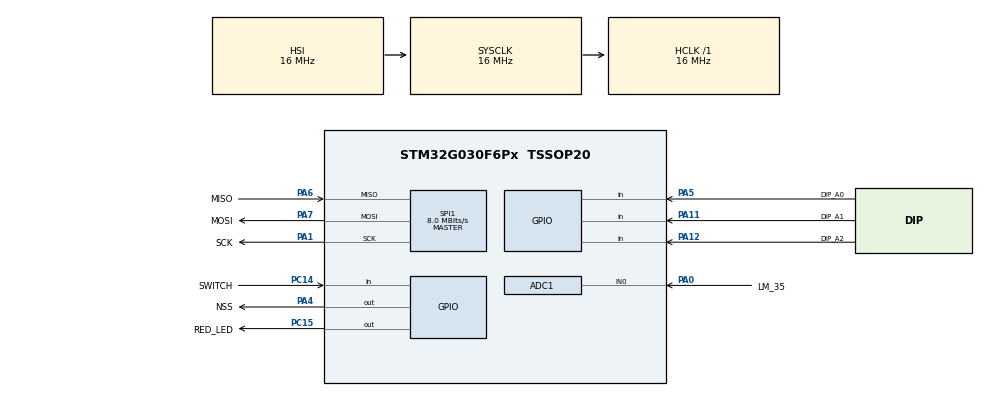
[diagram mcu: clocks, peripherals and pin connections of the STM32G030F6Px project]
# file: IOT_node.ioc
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ADC1.Channel-3\#ChannelRegularConversion=ADC_CHANNEL_0
ADC1.NbrOfConversionFlag=1
ADC1.Rank-3\#ChannelRegularConversion=1
ADC1.SamplingTime-3\#ChannelRegularConversion=ADC_SAMPLINGTIME_COMMON_1
ADC1.SelectedChannel=ADC_CHANNEL_0
ADC1.master=1
Mcu.Family=STM32G0
Mcu.Name=STM32G030F6Px
Mcu.Package=TSSOP20
NVIC.SPI1_IRQn=true\:0\:0\:false\:false\:true\:true\:true\:true
PA0.GPIO_Label=LM_35
PA0.Signal=SharedAnalog_PA0
PA1.GPIO_Label=SCK
PA1.GPIO_Speed=GPIO_SPEED_FREQ_HIGH
PA1.Mode=Full_Duplex_Master
PA1.Signal=SPI1_SCK
PA11\ [PA9].GPIO_Label=DIP_A1
PA11\ [PA9].GPIO_PuPd=GPIO_PULLUP
PA11\ [PA9].Signal=GPIO_Input
PA12\ [PA10].GPIO_Label=DIP_A2
PA12\ [PA10].GPIO_PuPd=GPIO_PULLUP
PA12\ [PA10].Signal=GPIO_Input
PA13.Mode=Serial_Wire
PA13.Signal=SYS_SWDIO
PA14-BOOT0.Mode=Serial_Wire
PA14-BOOT0.Signal=SYS_SWCLK
PA14-BOOT0__PA15.StandardMode=true
PA4.GPIO_Label=NSS
PA4.GPIO_PuPd=GPIO_PULLUP
PA4.Signal=GPIO_Output
PA5.GPIO_Label=DIP_A0
PA5.GPIO_PuPd=GPIO_PULLUP
PA5.Signal=GPIO_Input
PA6.GPIO_Label=MISO
PA6.GPIO_Speed=GPIO_SPEED_FREQ_HIGH
PA6.Mode=Full_Duplex_Master
PA6.Signal=SPI1_MISO
PA7.GPIO_Label=MOSI
PA7.GPIO_Speed=GPIO_SPEED_FREQ_HIGH
PA7.Mode=Full_Duplex_Master
PA7.Signal=SPI1_MOSI
PB0__PB1__PB2__PA8.StandardMode=true
PB3__PB4__PB5__PB6.StandardMode=true
PB7__PB8.StandardMode=true
PC14-OSC32_IN\ (PC14).GPIO_Label=SWITCH
PC14-OSC32_IN\ (PC14).GPIO_PuPd=GPIO_PULLUP
PC14-OSC32_IN\ (PC14).Signal=GPIO_Input
PC14-OSC32_IN\ (PC14)__PB9.StandardMode=true
PC15-OSC32_OUT\ (PC15).GPIO_Label=RED_LED
PC15-OSC32_OUT\ (PC15).Signal=GPIO_Output
ProjectManager.HeapSize=0x200
ProjectManager.StackSize=0x400
ProjectManager.TargetToolchain=STM32CubeIDE
RCC.AHBFreq_Value=16000000
RCC.CortexFreq_Value=16000000
RCC.EXTERNAL_CLOCK_VALUE=12288000
RCC.HCLKFreq_Value=16000000
RCC.HSE_VALUE=8000000
RCC.HSI_VALUE=16000000
RCC.LSE_VALUE=32768
RCC.SYSCLKFreq_VALUE=16000000
RCC.VCOOutputFreq_Value=128000000
SH.SharedAnalog_PA0.0=GPIO_Analog
SH.SharedAnalog_PA0.1=ADC1_IN0,IN0
SPI1.CalculateBaudRate=8.0 MBits/s
SPI1.Direction=SPI_DIRECTION_2LINES
SPI1.Mode=SPI_MODE_MASTER
SPI1.VirtualType=VM_MASTER
board=custom

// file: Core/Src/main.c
/* USER CODE BEGIN Header */
/**
  ******************************************************************************
  * @file           : main.c
  * @brief          : Main program body
  ******************************************************************************
  * @attention
  *
  * Copyright (c) 2024 STMicroelectronics.
  * All rights reserved.
  *
  * This software is licensed under terms that can be found in the LICENSE file
  * in the root directory of this software component.
  * If no LICENSE file comes with this software, it is provided AS-IS.
  *
  ******************************************************************************
  */
/* USER CODE END Header */
#include "main.h"

/* USER CODE BEGIN Includes */
#include "CANSPI.h"
/* USER CODE END Includes */

ADC_HandleTypeDef hadc1;

SPI_HandleTypeDef hspi1;

/* USER CODE BEGIN PV */
int temp,adc_value;
uCAN_MSG Msg;
int NODE;
/* USER CODE END PV */

void SystemClock_Config(void);
static void MX_GPIO_Init(void);
static void MX_ADC1_Init(void);
static void MX_SPI1_Init(void);
/* USER CODE BEGIN PFP */
void tempread(void);
void readnode(void);
/* USER CODE END PFP */

int main(void)
{

  /* MCU Configuration--------------------------------------------------------*/

  /* Reset of all peripherals, Initializes the Flash interface and the Systick. */
  HAL_Init();

  /* Configure the system clock */
  SystemClock_Config();

  /* USER CODE BEGIN SysInit */
 // HAL_RCC_GPIOA_CLK_ENABLE(); // Enable GPIOA clock
 // HAL_RCC_ADC_CLK_ENABLE();   // Enable ADC clock

  /* USER CODE END SysInit */

  /* Initialize all configured peripherals */
  MX_GPIO_Init();
  MX_ADC1_Init();
  MX_SPI1_Init();
  /* USER CODE BEGIN 2 */

  CANSPI_Initialize();
  /* USER CODE END 2 */

  /* Infinite loop */
  while (1)
  {

    /* USER CODE BEGIN 3 */

	 // tempread();

	  readnode();
	  if(CANSPI_Receive(&Msg))
	  {

		  if(Msg.frame.id == NODE)   //NODE 1
		  {
			   HAL_GPIO_WritePin(RED_LED_GPIO_Port,RED_LED_Pin,1);
			   HAL_Delay(500);
			   HAL_GPIO_WritePin(RED_LED_GPIO_Port,RED_LED_Pin,0);

			  tempread();
			  Msg.frame.id = NODE;
			  Msg.frame.dlc = 1;
			  Msg.frame.data0 = temp;
			  CANSPI_Transmit(&Msg);
		  }
	  }

  }
  /* USER CODE END 3 */
}

void SystemClock_Config(void)
{
  RCC_OscInitTypeDef RCC_OscInitStruct = {0};
  RCC_ClkInitTypeDef RCC_ClkInitStruct = {0};

  /** Configure the main internal regulator output voltage
  */
  HAL_PWREx_ControlVoltageScaling(PWR_REGULATOR_VOLTAGE_SCALE1);

  /** Initializes the RCC Oscillators according to the specified parameters
  * in the RCC_OscInitTypeDef structure.
  */
  RCC_OscInitStruct.OscillatorType = RCC_OSCILLATORTYPE_HSI;
  RCC_OscInitStruct.HSIState = RCC_HSI_ON;
  RCC_OscInitStruct.HSIDiv = RCC_HSI_DIV1;
  RCC_OscInitStruct.HSICalibrationValue = RCC_HSICALIBRATION_DEFAULT;
  RCC_OscInitStruct.PLL.PLLState = RCC_PLL_NONE;
  if (HAL_RCC_OscConfig(&RCC_OscInitStruct) != HAL_OK)
  {
    Error_Handler();
  }

  /** Initializes the CPU, AHB and APB buses clocks
  */
  RCC_ClkInitStruct.ClockType = RCC_CLOCKTYPE_HCLK|RCC_CLOCKTYPE_SYSCLK
                              |RCC_CLOCKTYPE_PCLK1;
  RCC_ClkInitStruct.SYSCLKSource = RCC_SYSCLKSOURCE_HSI;
  RCC_ClkInitStruct.AHBCLKDivider = RCC_SYSCLK_DIV1;
  RCC_ClkInitStruct.APB1CLKDivider = RCC_HCLK_DIV1;

  if (HAL_RCC_ClockConfig(&RCC_ClkInitStruct, FLASH_LATENCY_0) != HAL_OK)
  {
    Error_Handler();
  }
}

static void MX_ADC1_Init(void)
{

  ADC_ChannelConfTypeDef sConfig = {0};

  /** Configure the global features of the ADC (Clock, Resolution, Data Alignment and number of conversion)
  */
  hadc1.Instance = ADC1;
  hadc1.Init.ClockPrescaler = ADC_CLOCK_SYNC_PCLK_DIV2;
  hadc1.Init.Resolution = ADC_RESOLUTION_12B;
  hadc1.Init.DataAlign = ADC_DATAALIGN_RIGHT;
  hadc1.Init.ScanConvMode = ADC_SCAN_DISABLE;
  hadc1.Init.EOCSelection = ADC_EOC_SINGLE_CONV;
  hadc1.Init.LowPowerAutoWait = DISABLE;
  hadc1.Init.LowPowerAutoPowerOff = DISABLE;
  hadc1.Init.ContinuousConvMode = DISABLE;
  hadc1.Init.NbrOfConversion = 1;
  hadc1.Init.DiscontinuousConvMode = DISABLE;
  hadc1.Init.ExternalTrigConv = ADC_SOFTWARE_START;
  hadc1.Init.ExternalTrigConvEdge = ADC_EXTERNALTRIGCONVEDGE_NONE;
  hadc1.Init.DMAContinuousRequests = DISABLE;
  hadc1.Init.Overrun = ADC_OVR_DATA_PRESERVED;
  hadc1.Init.SamplingTimeCommon1 = ADC_SAMPLETIME_1CYCLE_5;
  hadc1.Init.SamplingTimeCommon2 = ADC_SAMPLETIME_1CYCLE_5;
  hadc1.Init.OversamplingMode = DISABLE;
  hadc1.Init.TriggerFrequencyMode = ADC_TRIGGER_FREQ_HIGH;
  if (HAL_ADC_Init(&hadc1) != HAL_OK)
  {
    Error_Handler();
  }

  /** Configure Regular Channel
  */
  sConfig.Channel = ADC_CHANNEL_0;
  sConfig.Rank = ADC_REGULAR_RANK_1;
  sConfig.SamplingTime = ADC_SAMPLINGTIME_COMMON_1;
  if (HAL_ADC_ConfigChannel(&hadc1, &sConfig) != HAL_OK)
  {
    Error_Handler();
  }

}

static void MX_SPI1_Init(void)
{

  /* SPI1 parameter configuration*/
  hspi1.Instance = SPI1;
  hspi1.Init.Mode = SPI_MODE_MASTER;
  hspi1.Init.Direction = SPI_DIRECTION_2LINES;
  hspi1.Init.DataSize = SPI_DATASIZE_8BIT;
  hspi1.Init.CLKPolarity = SPI_POLARITY_LOW;
  hspi1.Init.CLKPhase = SPI_PHASE_1EDGE;
  hspi1.Init.NSS = SPI_NSS_SOFT;
  hspi1.Init.BaudRatePrescaler = SPI_BAUDRATEPRESCALER_2;
  hspi1.Init.FirstBit = SPI_FIRSTBIT_MSB;
  hspi1.Init.TIMode = SPI_TIMODE_DISABLE;
  hspi1.Init.CRCCalculation = SPI_CRCCALCULATION_DISABLE;
  hspi1.Init.CRCPolynomial = 7;
  hspi1.Init.CRCLength = SPI_CRC_LENGTH_DATASIZE;
  hspi1.Init.NSSPMode = SPI_NSS_PULSE_ENABLE;
  if (HAL_SPI_Init(&hspi1) != HAL_OK)
  {
    Error_Handler();
  }

}

static void MX_GPIO_Init(void)
{
  GPIO_InitTypeDef GPIO_InitStruct = {0};

  /* GPIO Ports Clock Enable */
  __HAL_RCC_GPIOC_CLK_ENABLE();
  __HAL_RCC_GPIOA_CLK_ENABLE();

  /*Configure GPIO pin Output Level */
  HAL_GPIO_WritePin(RED_LED_GPIO_Port, RED_LED_Pin, GPIO_PIN_RESET);

  /*Configure GPIO pin Output Level */
  HAL_GPIO_WritePin(NSS_GPIO_Port, NSS_Pin, GPIO_PIN_RESET);

  /*Configure GPIO pin : SWITCH_Pin */
  GPIO_InitStruct.Pin = SWITCH_Pin;
  GPIO_InitStruct.Mode = GPIO_MODE_INPUT;
  GPIO_InitStruct.Pull = GPIO_PULLUP;
  HAL_GPIO_Init(SWITCH_GPIO_Port, &GPIO_InitStruct);

  /*Configure GPIO pin : RED_LED_Pin */
  GPIO_InitStruct.Pin = RED_LED_Pin;
  GPIO_InitStruct.Mode = GPIO_MODE_OUTPUT_PP;
  GPIO_InitStruct.Pull = GPIO_NOPULL;
  GPIO_InitStruct.Speed = GPIO_SPEED_FREQ_LOW;
  HAL_GPIO_Init(RED_LED_GPIO_Port, &GPIO_InitStruct);

  /*Configure GPIO pin : NSS_Pin */
  GPIO_InitStruct.Pin = NSS_Pin;
  GPIO_InitStruct.Mode = GPIO_MODE_OUTPUT_PP;
  GPIO_InitStruct.Pull = GPIO_PULLUP;
  GPIO_InitStruct.Speed = GPIO_SPEED_FREQ_LOW;
  HAL_GPIO_Init(NSS_GPIO_Port, &GPIO_InitStruct);

  /*Configure GPIO pins : DIP_A0_Pin DIP_A1_Pin DIP_A2_Pin */
  GPIO_InitStruct.Pin = DIP_A0_Pin|DIP_A1_Pin|DIP_A2_Pin;
  GPIO_InitStruct.Mode = GPIO_MODE_INPUT;
  GPIO_InitStruct.Pull = GPIO_PULLUP;
  HAL_GPIO_Init(GPIOA, &GPIO_InitStruct);

}

/* USER CODE BEGIN 4 */
void tempread(void)
{
	  HAL_ADC_Start(&hadc1);                               // Start ADC conversion
	  HAL_ADC_PollForConversion(&hadc1, 20);    // Wait for conversion to complete
	  adc_value = HAL_ADC_GetValue(&hadc1);       // Get the ADC result
	 //HAL_ADC_Stop(&hadc1);
	  temp=((adc_value*330)/4095);

}

void readnode(void)
{
	int A0,A1,A2;
	A0 = !HAL_GPIO_ReadPin(DIP_A0_GPIO_Port,DIP_A0_Pin);
	A1 = !HAL_GPIO_ReadPin(DIP_A1_GPIO_Port,DIP_A1_Pin);
	A2 = !HAL_GPIO_ReadPin(DIP_A2_GPIO_Port,DIP_A2_Pin);
	NODE = A2 << 2 | A1 << 1 | A0;

}
/* USER CODE END 4 */

void Error_Handler(void)
{
  __disable_irq();
  while (1)
  {
  }
}
